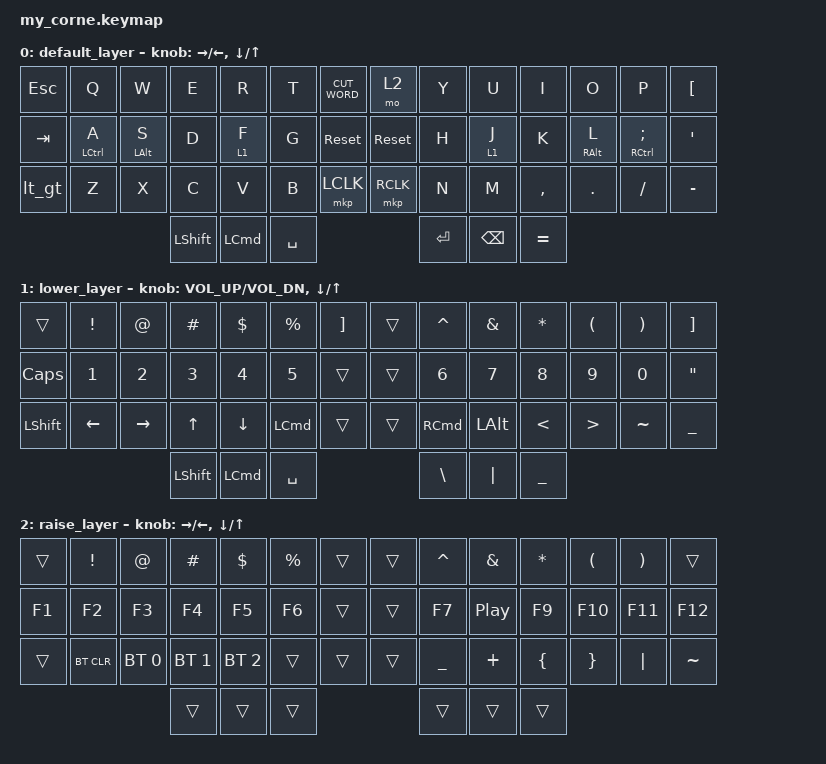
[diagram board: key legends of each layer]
#include <behaviors.dtsi>
#include <dt-bindings/zmk/bt.h>
#include <dt-bindings/zmk/keys.h>
#include <dt-bindings/zmk/pointing.h>

/ {
    behaviors {
        hm_left: homerow_mods_left {
            compatible = "zmk,behavior-hold-tap";
            #binding-cells = <2>;
            tapping-term-ms = <225>;
            quick-tap-ms = <150>;
            flavor = "tap-preferred";
            bindings = <&kp>, <&kp>;

            require-prior-idle-ms = <60>;
            retro-tap;
        };

        hm_right: hm_right {
            compatible = "zmk,behavior-hold-tap";
            label = "HM_RIGHT";
            bindings = <&kp>, <&kp>;

            #binding-cells = <2>;
            tapping-term-ms = <225>;
            quick-tap-ms = <150>;
            require-prior-idle-ms = <60>;
            flavor = "tap-preferred";
            retro-tap;
        };

        lt_gt: lt_gt {
            compatible = "zmk,behavior-mod-morph";
            label = "LT_GT";
            bindings = <&kp LESS_THAN>, <&kp GREATER_THAN>;

            #binding-cells = <0>;
            mods = <(MOD_RSFT|MOD_LSFT)>;
        };

        new_behavior: new_behavior {
            compatible = "zmk,behavior-hold-tap";
            label = "NEW_BEHAVIOR";
            bindings = <&kp>, <&kp>;

            #binding-cells = <2>;
            tapping-term-ms = <225>;
            quick-tap-ms = <150>;
            require-prior-idle-ms = <60>;
            flavor = "tap-preferred";
            retro-tap;
        };

        hm_mo: hm_mo {
            compatible = "zmk,behavior-hold-tap";
            #binding-cells = <2>;
            tapping-term-ms = <225>;
            quick-tap-ms = <150>;
            flavor = "tap-preferred";
            bindings = <&mo>, <&kp>;

            require-prior-idle-ms = <60>;
            label = "HM_MO";
        };
    };

    macros {
        CUT_WORD: CUT_WORD {
            compatible = "zmk,behavior-macro";
            #binding-cells = <0>;
            bindings = <&kp RIGHT &kp RIGHT &kp LA(LEFT) &kp LS(LA(RIGHT)) &kp LG(X)>;
            label = "CUT_WORD";
        };
    };

    keymap {
        compatible = "zmk,keymap";

        default_layer {
            bindings = <
&kp ESC  &kp Q             &kp W            &kp E           &kp R             &kp T      &CUT_WORD     &mo 2       &kp Y    &kp U       &kp I      &kp O             &kp P                 &kp LEFT_BRACKET
&kp TAB  &hm_left LCTRL A  &hm_left LALT S  &kp D           &hm_mo 1 F        &kp G      &sys_reset    &sys_reset  &kp H    &hm_mo 1 J  &kp K      &hm_right RALT L  &hm_right RCTRL SEMI  &kp SQT
&lt_gt   &kp Z             &kp X            &kp C           &kp V             &kp B      &mkp LCLK     &mkp RCLK   &kp N    &kp M       &kp COMMA  &kp DOT           &kp FSLH              &kp MINUS
                                            &kp LEFT_SHIFT  &kp LEFT_COMMAND  &kp SPACE                            &kp RET  &kp BSPC    &kp EQUAL
            >;

            sensor-bindings = <&inc_dec_kp RIGHT LEFT &inc_dec_kp DOWN UP>;
        };

        lower_layer {
            bindings = <
&trans          &kp EXCL  &kp AT     &kp HASH        &kp DLLR          &kp PRCNT         &kp RBKT    &trans  &kp CARET          &kp AMPS  &kp ASTRK      &kp LPAR          &kp RPAR   &kp RIGHT_BRACKET
&kp CLCK        &kp N1    &kp N2     &kp N3          &kp N4            &kp N5            &trans      &trans  &kp N6             &kp N7    &kp N8         &kp N9            &kp N0     &kp DOUBLE_QUOTES
&kp LEFT_SHIFT  &kp LEFT  &kp RIGHT  &kp UP          &kp DOWN          &kp LEFT_COMMAND  &trans      &trans  &kp RIGHT_COMMAND  &kp LALT  &kp LESS_THAN  &kp GREATER_THAN  &kp TILDE  &kp UNDER
                                     &kp LEFT_SHIFT  &kp LEFT_COMMAND  &kp SPACE                             &kp BSLH           &kp PIPE  &kp UNDER
            >;

            sensor-bindings = <&inc_dec_kp C_VOL_UP C_VOL_DN &inc_dec_kp DOWN UP>;
        };

        raise_layer {
            bindings = <
&trans  &kp EXCL    &kp AT        &kp HASH      &kp DLLR      &kp PRCNT  &trans    &trans  &kp CARET  &kp AMPS          &kp ASTRK  &kp LPAR  &kp RPAR  &trans
&kp F1  &kp F2      &kp F3        &kp F4        &kp F5        &kp F6     &trans    &trans  &kp F7     &kp C_PLAY_PAUSE  &kp F9     &kp F10   &kp F11   &kp F12
&trans  &bt BT_CLR  &bt BT_SEL 0  &bt BT_SEL 1  &bt BT_SEL 2  &trans     &trans    &trans  &kp UNDER  &kp PLUS          &kp LBRC   &kp RBRC  &kp PIPE  &kp TILDE
                                  &trans        &trans        &trans                       &trans     &trans            &trans
            >;

            sensor-bindings = <&inc_dec_kp RIGHT LEFT &inc_dec_kp DOWN UP>;
        };
    };
};
